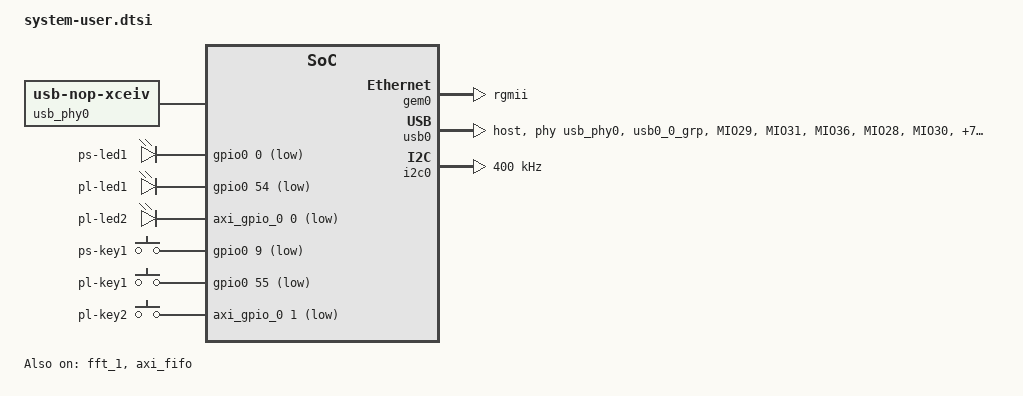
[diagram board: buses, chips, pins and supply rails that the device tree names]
/include/ "system-conf.dtsi"

#include <dt-bindings/input/input.h>

/ {
  chosen {
    bootargs = "console=ttyPS0,115200 earlycon uio_pdrv_genirq.of_id=generic-uio root=/dev/ram0 rw drm.debug=0x2f";
    /* to debug kernel with vitis
    bootargs = "console=ttyPS0,115200 earlycon uio_pdrv_genirq.of_id=generic-uio root=/dev/ram0 rw drm.debug=0x2f cpuidle.off=1";
    */
    stdout-path = "serial0:115200n8";
  };

  usb_phy0: phy0 {
    compatible = "usb-nop-xceiv";
    #phy-cells = <0>;
  };

  // fft_1: fft-axi-dma@40400000 {
  fft_1: gen@40400000 {
    compatible = "generic-uio";
    reg = <0x40400000 0x10000>;
    // interrupt-names = "mm2s_introut", "s2mm_introut";
    interrupt-parent = <&axi_intc_0>;
    interrupts = <2 2>;
    // interrupts = <1 2>,<2 2>;
    status = "okay";
  };

  video_timings {
    timing_1920x1080: timing1 {
      clock-frequency = <148500000>;
      hactive = <1920>;
      vactive = <1080>;

      hback-porch = <148>;
      hsync-len = <44>;
      hfront-porch = <88>;
      vback-porch = <36>;
      vsync-len = <5>;
      vfront-porch = <4>;

      hsync-active = <0>;
      vsync-active = <0>;
      de-active = <1>;
      pixelclk-active = <1>;
    };
  };

  fft_rx_udma@0x00 {
    compatible = "ikwzm,u-dma-buf";
    device-name = "fft_rx_udma";
    size = <0x10000>;
    sync-mode = <1>;
    sync-always;
  };

  fft_tx_udma@0x00 {
    compatible = "ikwzm,u-dma-buf";
    device-name = "fft_tx_udma";
    size = <0x10000>;
    sync-mode = <1>;
    sync-always;
  };

  axi_fifo: gen@43c00000 {
    compatible = "generic-uio";
    reg = <0x43c00000 0x10000>;
    interrupt-parent = <&axi_intc_0>;
    interrupts = <3 2>;
    status = "okay";
  };

  leds {
    compatible = "gpio-leds";
    ps-led1 {
      label = "ps-led1";
      gpios = <&gpio0 0 1>;
      linux,default-trigger = "heartbeat";
    };
    pl-led1 {
      label = "pl-led1";
      gpios = <&gpio0 54 1>;
      linux,default-trigger = "mmc0";
    };
    pl-led2 {
      label = "pl-led2";
      gpios = <&axi_gpio_0 0 1>;
      default-state = "off";
    };
  };

  gpio-keys {
    compatible = "gpio-keys";

    ps-key1 {
      label = "ps-key1";
      linux,code= <BTN_0>;
      gpios = <&gpio0 9 1>;
    };

    pl-key1 {
      label = "pl-key1";
      linux,code= <BTN_1>;
      gpios = <&gpio0 55 1>;
    };

    pl-key2 {
      label = "pl-key2";
      linux,code= <BTN_2>;
      gpios = <&axi_gpio_0 1 1>;
    };
  };
};

&amba_pl {
  /* we don't need this
  xlnx_vdma_hdmi {
    compatible = "xilinx,vdmafb";
    status = "okay";

    xlnx,bridge = <&v_tc_0>;
    clocks = <&axi_dynclk_0>;
    clock-names = "hdmi_pclk";
    dmas = <&axi_vdma_0 0>;
    dma-names = "hdmi_dma";

    is-hdmi = <0x1>;

    display-timings = <&timing_1920x1080>;
    xlnx,pixel-format = "bgr888";
  };
  */
};

&axi_dynclk_0 {
  status = "disabled";      // we don't need this
	#clock-cells = <0>;
};

&gem0 {
  phy-mode = "rgmii";
};

&axi_dma_0 {
  // we need to disable axi dma kernel driver to control it
  // through UIO
  status = "disabled";
};

&axi_vdma_0 {
  status = "disabled";      // we don't need this
  dma-ranges = <0 0 0x20000000>;
};

&usb0 {
  status = "okay";
  dr_mode = "host";
  usb-phy = <&usb_phy0>;
  pinctrl-names = "default";
  pinctrl-0 = <&pinctrl_usb0_default>;
};

&pinctrl0 {
  pinctrl_usb0_default: usb0-default {
    mux {
      groups = "usb0_0_grp";
      function = "usb0";
    };

    conf {
      groups = "usb0_0_grp";
      slew-rate = <0>;
      io-standard = <1>;
    };

    conf-rx {
      pins = "MIO29", "MIO31", "MIO36";
      bias-high-impedance;
    };

    conf-tx {
      pins = "MIO28", "MIO30", "MIO32", "MIO33", "MIO34",
             "MIO35", "MIO37", "MIO38", "MIO39";
      bias-disable;
    };
  };
};

&i2c0 {
  status = "okay";
  clock-frequency = <400000>;
};

&v_tc_0 {
  status = "disabled";      // we don't need this
  compatible = "xlnx,bridge-v-tc-6.1";
  xlnx,pixels-per-clock = <1>;
};

&axi_gpio_0 {
  #gpio-cells = <2>;
};
